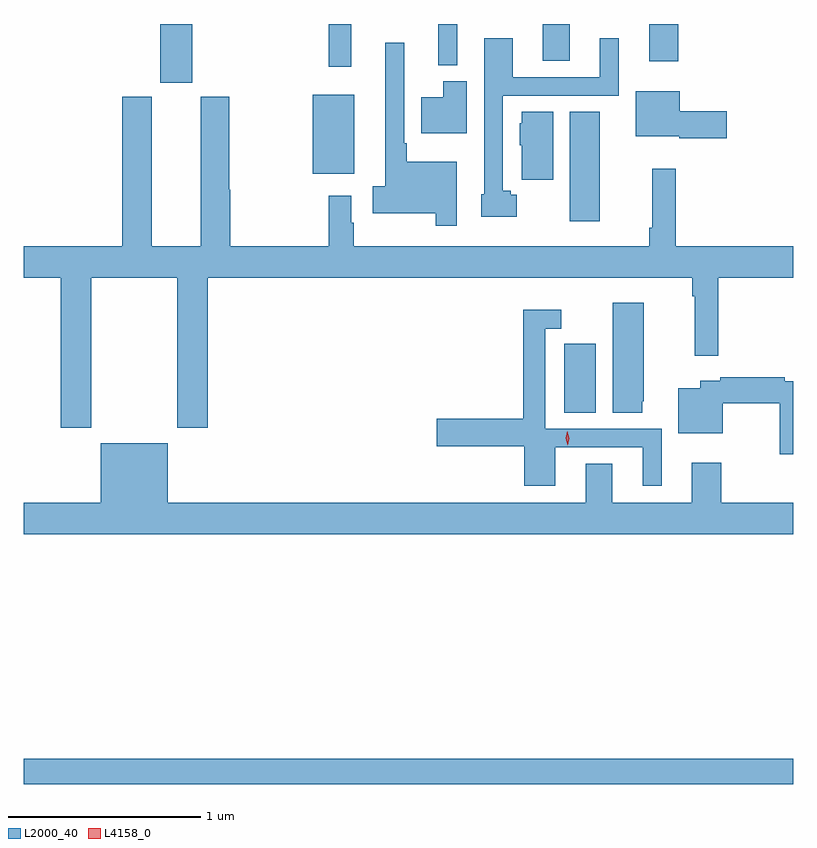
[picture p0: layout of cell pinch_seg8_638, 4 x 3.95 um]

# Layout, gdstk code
import gdstk
lib = gdstk.Library(unit=1e-6, precision=1e-09)
def R(c, l, rs):  # rectangles x0, y0, x1, y1
    for r in rs: c.add(gdstk.rectangle(r[:2], r[2:], *l))
def P(c, l, *ps):  # polygons
    for p in ps: c.add(gdstk.Polygon(p, *l))
L2000_40 = (2000, 40)
L4158_0 = (4158, 0)

pinch_seg8_638 = lib.new_cell('pinch_seg8_638')
R(pinch_seg8_638, L2000_40, [(325.026,1081.9,329.026,1082.032), (327.836,1083.832,328,1084.189), (327.866,1084.827,328.021,1085.396), (326.528,1085.075,326.743,1085.485), (325.736,1085.547,325.9,1085.853), (326.611,1085.631,326.729,1085.853), (327.182,1085.639,327.28,1085.853), (328.277,1085.658,328.43,1085.853), (327.725,1085.662,327.865,1085.853)])
P(pinch_seg8_638, L2000_40, [(327.589,1084.964),(327.558,1084.964),(327.558,1084.985),(327.516,1084.985),(327.516,1085.481),(328.12,1085.481),(328.12,1085.779),(328.022,1085.779),(328.022,1085.577),(327.568,1085.577),(327.568,1085.779),(327.42,1085.779),(327.42,1085.189),(327.419,1085.189),(327.419,1084.968),(327.404,1084.968),(327.404,1084.85),(327.589,1084.85)],
  [(327.276,1085.137),(327.016,1085.137),(327.016,1085.233),(327.003,1085.233),(327.003,1085.755),(326.906,1085.755),(326.906,1085.009),(326.84,1085.009),(326.84,1084.868),(327.168,1084.868),(327.168,1084.803),(327.276,1084.803)],
  [(327.328,1085.554),(327.206,1085.554),(327.206,1085.473),(327.092,1085.473),(327.092,1085.285),(327.328,1085.285)],
  [(328.681,1085.4),(328.438,1085.4),(328.438,1085.503),(328.208,1085.503),(328.208,1085.27),(328.434,1085.27),(328.434,1085.258),(328.681,1085.258)],
  [(325.946,1084.696),(325.69,1084.696),(325.69,1085.475),(325.538,1085.475),(325.538,1084.696),(325.026,1084.696),(325.026,1084.532),(325.217,1084.532),(325.217,1083.753),(325.377,1083.753),(325.377,1084.532),(325.822,1084.532),(325.822,1083.753),(325.982,1083.753),(325.982,1084.532),(328.501,1084.532),(328.501,1084.436),(328.516,1084.436),(328.516,1084.128),(328.637,1084.128),(328.637,1084.532),(329.026,1084.532),(329.026,1084.696),(328.415,1084.696),(328.415,1085.101),(328.294,1085.101),(328.294,1084.792),(328.279,1084.792),(328.279,1084.696),(326.74,1084.696),(326.74,1084.82),(326.727,1084.82),(326.727,1084.96),(326.611,1084.96),(326.611,1084.696),(326.099,1084.696),(326.099,1084.992),(326.094,1084.992),(326.094,1085.475),(325.946,1085.475)],
  [(327.778,1085.396),(327.614,1085.396),(327.614,1085.337),(327.605,1085.337),(327.605,1085.223),(327.615,1085.223),(327.615,1085.043),(327.778,1085.043)],
  [(328.243,1083.891),(328.249,1083.891),(328.249,1084.402),(328.088,1084.402),(328.088,1083.832),(328.243,1083.832)],
  [(327.79,1083.651),(328.244,1083.651),(328.244,1083.45),(328.342,1083.45),(328.342,1083.747),(327.738,1083.747),(327.738,1084.269),(327.82,1084.269),(327.82,1084.366),(327.622,1084.366),(327.622,1083.8),(327.174,1083.8),(327.174,1083.658),(327.629,1083.658),(327.629,1083.45),(327.79,1083.45)],
  [(329.026,1083.996),(328.982,1083.996),(328.982,1084.016),(328.648,1084.016),(328.648,1083.997),(328.544,1083.997),(328.544,1083.958),(328.43,1083.958),(328.43,1083.725),(328.66,1083.725),(328.66,1083.88),(328.958,1083.88),(328.958,1083.615),(329.026,1083.615)],
  [(329.026,1083.364),(328.652,1083.364),(328.652,1083.571),(328.499,1083.571),(328.499,1083.364),(328.087,1083.364),(328.087,1083.566),(327.947,1083.566),(327.947,1083.364),(325.774,1083.364),(325.774,1083.673),(325.424,1083.673),(325.424,1083.364),(325.026,1083.364),(325.026,1083.2),(329.026,1083.2)])
P(pinch_seg8_638, L4158_0, [(327.854,1083.663),(327.843,1083.698),(327.851,1083.735),(327.852,1083.735),(327.852,1083.735),(327.863,1083.699),(327.855,1083.663),(327.855,1083.663)])

lib.write_gds('pinch_seg8_638.gds')
